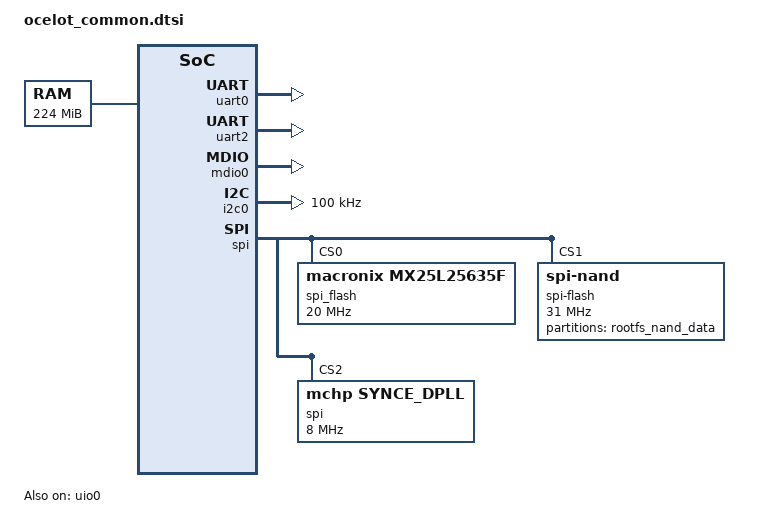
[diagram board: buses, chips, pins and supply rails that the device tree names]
// SPDX-License-Identifier: (GPL-2.0 OR MIT)
/* Copyright (c) 2017 Microsemi Corporation */

#include "ocelot.dtsi"

/ {
	chosen {
		stdout-path = "serial0:115200n8";
	};

	memory@0 {
		device_type = "memory";
		reg = <0x0 0x0e000000>;
	};
};

&uart0 {
	status = "okay";
};

&uart2 {
	status = "okay";
};

&mdio0 {
	status = "okay";
};

&i2c0 {
	status = "okay";
	clock-frequency = <100000>;
	i2c-sda-hold-time-ns = <300>;
};

&gpio {
	synce_pins: synce-pins {
		// CS2
		pins = "GPIO_9";
		function = "si";
	};
};

&spi {
	status = "okay";
	spi-flash@0 {
		label = "spi_flash";
		compatible = "macronix,mx25l25635f", "jedec,spi-nor";
		spi-max-frequency = <20000000>;
		reg = <0>;
	};
	spi-flash@1 {
		compatible = "spi-nand";
		pinctrl-0 = <&cs1_pins>;
		pinctrl-names = "default";
		spi-max-frequency = <31000000>;
		reg = <1>; /* CS1 */
		nand-use-soft-ecc-engine;
		nand-ecc-algo = "hamming";
		partitions {
			compatible = "fixed-partitions";
			#address-cells = <1>;
			#size-cells = <1>;
			/* 256MiB */
			partition@0 {
				    label = "rootfs_nand_data";
				    reg = <0x0000000 0x10000000>;
			};
		};
	};
	spi@2 {
		compatible = "mchp,synce_dpll";
		reg = <2>;
		pinctrl-0 = <&synce_pins>;
		pinctrl-names = "default";
		spi-max-frequency = <8000000>;
	};
};

&uio0 {
	status = "okay";
};
